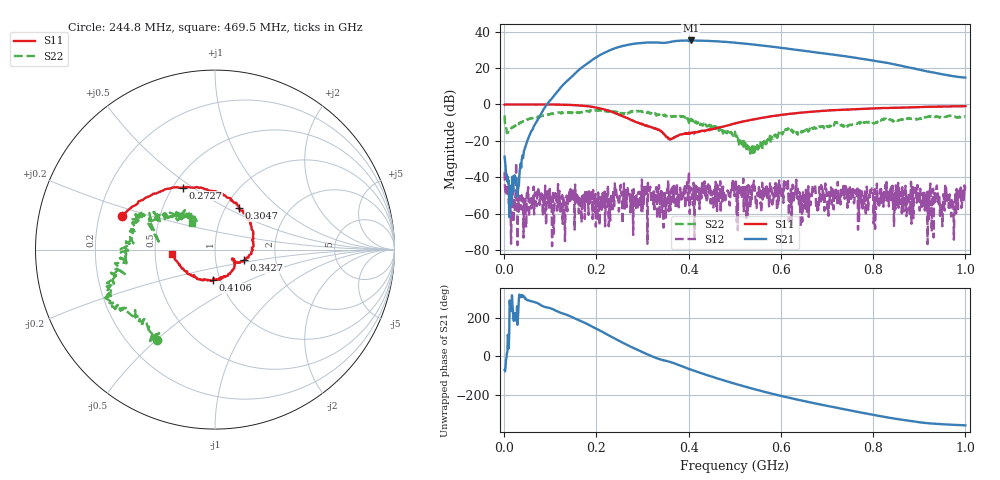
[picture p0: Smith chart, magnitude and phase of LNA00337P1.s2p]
! Created with skrf 1.9.0 (http://scikit-rf.org).
# Hz S RI R 50.0
!freq ReS11 ImS11 ReS21 ImS21 ReS12 ImS12 ReS22 ImS22
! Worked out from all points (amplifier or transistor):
!   1001 points, 1 MHz to 1 GHz, reference 50 ohm
!   highest |S21| = 35.1 dB at 404.6 MHz (marker M1)
!   |S21| within 3 dB of that: 257.5 MHz to 568.1 MHz (310.6 MHz wide, 75.3 % of centre)
!   unconditionally stable (mu >= 1): start of sweep to 78.76 MHz; 240 MHz to 298.4 MHz; 312.1 MHz to end of sweep (the widest 3 of 31)
!   at 166.8 MHz: K = 2.18, MAG = 29.6 dB, |S12| = -51.6 dB
!   at 500.5 MHz: K = 1.55, MAG = 34.6 dB, |S12| = -44.0 dB
!   at 1 GHz: K = 1.99, MAG = 23.3 dB, |S12| = -43.3 dB
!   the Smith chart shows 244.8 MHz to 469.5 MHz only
!   S11 on the Smith chart (normalised r, x): 244.8 MHz: 0.30, +0.16; 272.7 MHz: 0.56, +0.46; 304.7 MHz: 1.16, +0.58; 342.7 MHz: 1.37, -0.17; 410.6 MHz: 0.92, -0.32; 469.5 MHz: 0.62, -0.03
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1000000  0.981 0.0141  0.0124 -0.0348  -0.00713 0.0122  0.3794 0.3256
1.08892e8  0.5085 -0.854  -0.834 -1.568  -0.000198 -0.00163  0.4262 -0.3749
1.67833e8  -0.2545 -0.8918  -10.19 -0.4931  -0.000527 -0.000224  0.0459 -0.621
2.09791e8  -0.6819 -0.3625  -15.7 17.38  -0.00159 0.000497  -0.191 -0.652
2.26774e8  -0.6669 -0.0708  -10.02 28.04  8.57e-05 -0.000446  -0.2711 -0.5868
2.44756e8  -0.5182 0.1869  1.951 36.47  -0.00139 -0.00239  -0.3258 -0.5054
2.72728e8  -0.1775 0.3452  26.84 35.66  -0.00315 -0.00201  -0.5152 -0.3246
3.04696e8  0.1352 0.2321  47.4 14.4  -0.00276 -0.00136  -0.5875 -0.2157
3.34666e8  0.2026 -0.0162  48.72 -10.58  -9.77e-05 0.00245  -0.5228 -0.0475
3.42658e8  0.1621 -0.0596  46.59 -15.39  -0.000579 0.000936  -0.4946 -0.021
3.72628e8  0.112 -0.0705  43.01 -34.65  -0.000542 0.00125  -0.4487 0.1505
4.04596e8  0.0233 -0.1657  21.23 -53  0.00318 0.00415  -0.3155 0.1706
4.1059e8  -0.0114 -0.1695  16.39 -54.54  0.00606 0.00368  -0.3052 0.147
4.39561e8  -0.1383 -0.1421  -6.424 -55.23  0.000181 0.00268  -0.1692 0.1805
4.69531e8  -0.2371 -0.0247  -26.13 -46.22  0.000874 -0.000609  -0.1257 0.1466
5.005e8  -0.2669 0.1345  -39.42 -30.68  -0.00531 0.00342  -0.098 0.1499
5.4046e8  -0.1833 0.3418  -43.28 -8.551  0.00638 -0.000687  -0.0564 0.0202
5.88412e8  0.0255 0.4918  -35.59 11.98  9.67e-05 -0.00693  -0.1277 -0.0723
6.67333e8  0.4027 0.4879  -13.38 24.07  -0.000988 -0.00312  -0.2251 -0.0373
7.55245e8  0.6841 0.2685  4.401 19.1  -0.00242 0.000702  -0.281 0.0306
8.34166e8  0.8002 0.012  10.12 8.995  -0.00158 -0.000226  -0.3888 0.0323
1e9  0.7238 -0.531  5.451 0.1304  -0.00666 0.00161  -0.2681 0.3706
